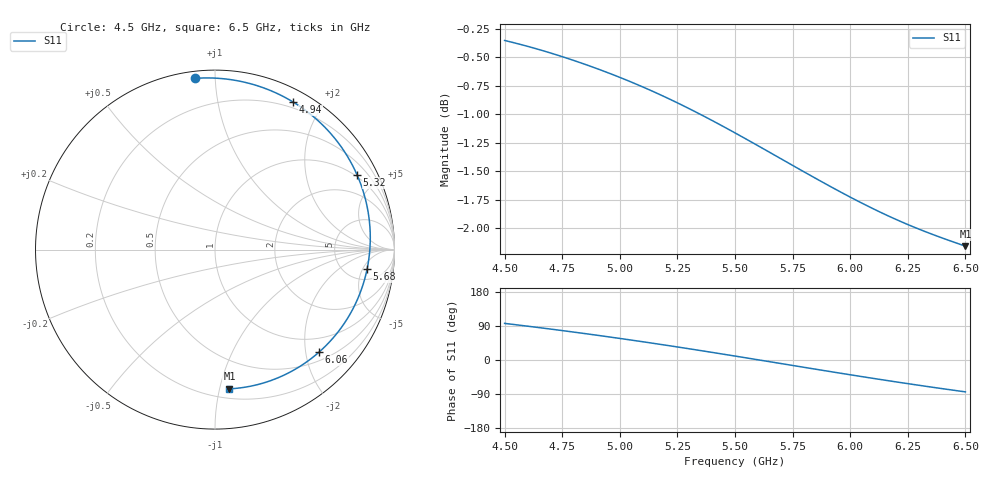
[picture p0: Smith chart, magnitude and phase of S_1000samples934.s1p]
! TOUCHSTONE file generated by CST MICROWAVE STUDIO
! Date and time: Sat Oct 29 20:37:23 2022
! Project name: L.cst
! Parameters = {Di=1.27; Epsilon_r=1.56; InnerDiameter=1.27; Length=2; Lf=10; Lg=60; OuterConductorThickness=0.2921; OuterDiameter=3.6; Wf=3; Wp=41.2; de=1.5; df=6.8; g=0.8; gx=3.34685; gy=4.69333; h=2.34; hf=1.524; px=11.2781; py=8.13016; w=9.7; wx=7.9313; wy=3.43683}
! Header version: 2018
! Port assignment regex: !\s*Touchstone port\s*([0-9]+)\s*=\s*(CST MWS port|CST DS port)\s*([0-9]+|Zmin|Zmax)\s*\(\"(.*)\"\)(\s*mode\s*([0-9]+))?.*
! Touchstone port assignment:
! Touchstone port 1 = CST MWS port 1 ("")
# GHz S DB R 50
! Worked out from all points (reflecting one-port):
!   101 points, 4.5 GHz to 6.5 GHz, reference 50 ohm
!   lowest |S11| = -2.2 dB at 6.5 GHz (marker M1), VSWR 8.08, Z = 13.5 - j53.6 ohm
!   phase of S11 starts at 97 deg and turns -181 deg over the sweep
!   S11 on the Smith chart (normalised r, x): 4.5 GHz: 0.04, +0.89; 4.94 GHz: 0.14, +1.65; 5.32 GHz: 0.92, +3.83; 5.68 GHz: 7.61, -6.20; 6.06 GHz: 0.67, -2.26; 6.5 GHz: 0.27, -1.07
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4.5  -0.35 96.6
4.58  -0.39 90.7
4.64  -0.42 86.2
4.7  -0.46 81.6
4.76  -0.50 76.8
4.86  -0.57 68.7
4.94  -0.63 62.1
5  -0.68 56.9
5.06  -0.72 51.7
5.12  -0.78 46.3
5.2  -0.85 39.0
5.26  -0.91 33.5
5.32  -0.97 27.8
5.42  -1.08 18.2
5.5  -1.16 10.4
5.58  -1.25 2.5
5.68  -1.37 -7.4
5.76  -1.46 -15.4
5.82  -1.53 -21.3
5.88  -1.60 -27.2
6  -1.73 -39.0
6.06  -1.79 -44.7
6.16  -1.89 -54.1
6.26  -1.98 -63.3
6.32  -2.03 -68.6
6.38  -2.07 -73.9
6.44  -2.12 -79.1
6.5  -2.16 -84.1
